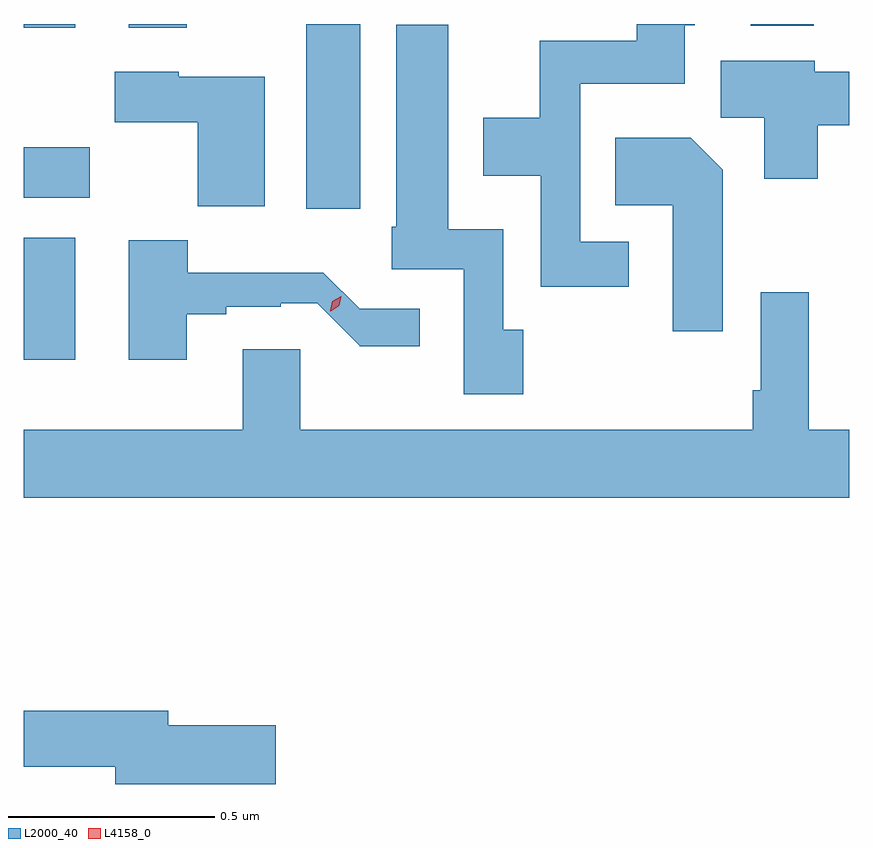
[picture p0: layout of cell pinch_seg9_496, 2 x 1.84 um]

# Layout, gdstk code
import gdstk
lib = gdstk.Library(unit=1e-6, precision=1e-09)
def R(c, l, rs):  # rectangles x0, y0, x1, y1
    for r in rs: c.add(gdstk.rectangle(r[:2], r[2:], *l))
def P(c, l, *ps):  # polygons
    for p in ps: c.add(gdstk.Polygon(p, *l))
L2000_40 = (2000, 40)
L4158_0 = (4158, 0)

pinch_seg9_496 = lib.new_cell('pinch_seg9_496')
R(pinch_seg9_496, L2000_40, [(378.242,1202.082,378.367,1202.377), (378.926,1202.448,379.057,1202.895), (378.242,1202.474,378.402,1202.596), (378.242,1202.886,378.367,1202.895), (378.497,1202.886,378.637,1202.895), (380.003,1202.891,380.156,1202.895)])
P(pinch_seg9_496, L2000_40, [(379.708,1202.367),(379.59,1202.367),(379.59,1202.75),(379.843,1202.75),(379.843,1202.892),(379.867,1202.892),(379.867,1202.895),(379.727,1202.895),(379.727,1202.854),(379.492,1202.854),(379.492,1202.668),(379.355,1202.668),(379.355,1202.528),(379.494,1202.528),(379.494,1202.259),(379.708,1202.259)],
  [(379.452,1202.154),(379.404,1202.154),(379.404,1202.398),(379.27,1202.398),(379.27,1202.893),(379.145,1202.893),(379.145,1202.404),(379.133,1202.404),(379.133,1202.301),(379.308,1202.301),(379.308,1201.998),(379.452,1201.998)],
  [(380.166,1202.65),(380.242,1202.65),(380.242,1202.779),(380.158,1202.779),(380.158,1202.806),(379.931,1202.806),(379.931,1202.668),(380.036,1202.668),(380.036,1202.52),(380.166,1202.52)],
  [(378.826,1202.767),(378.618,1202.767),(378.618,1202.779),(378.462,1202.779),(378.462,1202.657),(378.664,1202.657),(378.664,1202.453),(378.826,1202.453)],
  [(379.936,1202.542),(379.858,1202.62),(379.675,1202.62),(379.675,1202.456),(379.814,1202.456),(379.814,1202.151),(379.936,1202.151)],
  [(378.637,1202.192),(378.733,1202.192),(378.733,1202.21),(378.865,1202.21),(378.865,1202.218),(378.953,1202.218),(379.056,1202.115),(379.056,1202.114),(379.201,1202.114),(379.201,1202.205),(379.056,1202.205),(378.968,1202.293),(378.64,1202.293),(378.64,1202.371),(378.497,1202.371),(378.497,1202.082),(378.637,1202.082)],
  [(380.242,1201.912),(380.144,1201.912),(380.144,1202.245),(380.028,1202.245),(380.028,1202.008),(380.008,1202.008),(380.008,1201.912),(378.912,1201.912),(378.912,1202.107),(378.773,1202.107),(378.773,1201.912),(378.242,1201.912),(378.242,1201.748),(380.242,1201.748)],
  [(378.853,1201.196),(378.592,1201.196),(378.592,1201.232),(378.242,1201.232),(378.242,1201.096),(378.464,1201.096),(378.464,1201.054),(378.853,1201.054)])
P(pinch_seg9_496, L4158_0, [(378.985,1202.199),(378.985,1202.2),(378.99,1202.224),(379.011,1202.236),(379.011,1202.236),(379.011,1202.236),(379.007,1202.212),(378.986,1202.199)])

lib.write_gds('pinch_seg9_496.gds')
